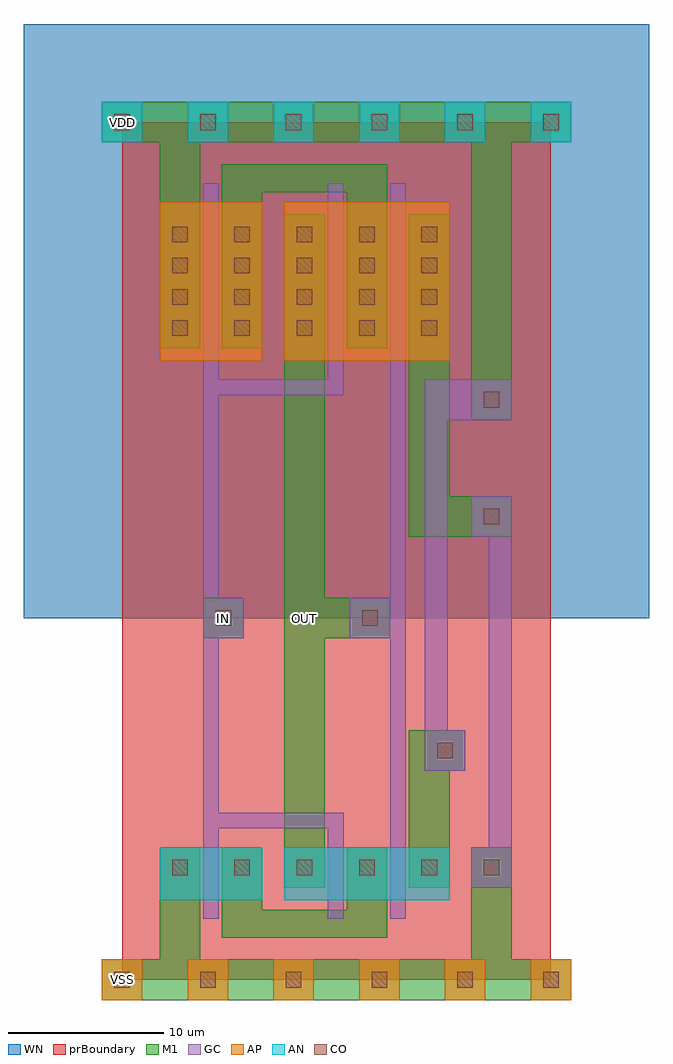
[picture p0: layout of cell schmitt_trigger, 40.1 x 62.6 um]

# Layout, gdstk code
import gdstk
lib = gdstk.Library(unit=1e-6, precision=1e-07)
def R(c, l, rs):  # rectangles x0, y0, x1, y1
    for r in rs: c.add(gdstk.rectangle(r[:2], r[2:], *l))
def A(c, l, x, y, w, h, nx, ny, dx, dy):  # array of equal rectangles
    R(c, l, [(x+i*dx, y+j*dy, x+i*dx+w, y+j*dy+h) for i in range(nx) for j in range(ny)])
def P(c, l, *ps):  # polygons
    for p in ps: c.add(gdstk.Polygon(p, *l))
AP = (3, 1)
AN = (3, 2)
GC = (8, 1)
CO = (11, 0)
M1 = (13, 0)
WN = (140, 0)
prBoundary = (235, 0)

fet_n_1 = lib.new_cell('fet_n$1')
R(fet_n_1, AN, [(-3.3,-1.7,3.3,1.7)])
R(fet_n_1, CO, [(-2.5,-0.1,-1.5,0.9), (1.5,-0.1,2.5,0.9)])
R(fet_n_1, M1, [(-3.3,-0.9,-0.7,1.7), (0.7,-0.9,3.3,1.7)])
fet_n_1.add(gdstk.FlexPath([(0,-2.9),(0,2.9)], 1, ends="flush", simple_path=True, layer=8, datatype=1))  # GC

fet_p_1 = lib.new_cell('fet_p$1')
R(fet_p_1, AP, [(-3.3,-5.1,3.3,5.1)])
A(fet_p_1, CO, -2.5, -3.5, 1, 1, 1, 4, 0, 2)
A(fet_p_1, CO, 1.5, -3.5, 1, 1, 1, 4, 0, 2)
R(fet_p_1, M1, [(-3.3,-4.3,-0.7,4.3), (0.7,-4.3,3.3,4.3)])
fet_p_1.add(gdstk.FlexPath([(0,-6.3),(0,6.3)], 1, ends="flush", simple_path=True, layer=8, datatype=1))  # GC

cont_p = lib.new_cell('cont_p')
R(cont_p, AP, [(-1.3,-1.3,1.3,1.3)])
R(cont_p, CO, [(-0.5,-0.5,0.5,0.5)])
R(cont_p, M1, [(-1.3,-1.3,1.3,1.3)])

cont_n = lib.new_cell('cont_n')
R(cont_n, AN, [(-1.3,-1.3,1.3,1.3)])
R(cont_n, CO, [(-0.5,-0.5,0.5,0.5)])
R(cont_n, M1, [(-1.3,-1.3,1.3,1.3)])

cont_g = lib.new_cell('cont_g')
R(cont_g, GC, [(-1.3,-1.3,1.3,1.3)])
R(cont_g, CO, [(-0.5,-0.5,0.5,0.5)])
R(cont_g, M1, [(-1.3,-1.3,1.3,1.3)])

schmitt_trigger = lib.new_cell('schmitt_trigger')
R(schmitt_trigger, GC, [(23.5,8.5,25,28.4), (5.2,9.7,6.2,38.5), (6.2,9.7,14.2,10.7), (17.2,9.7,18.2,38.5), (6.2,37.5,14.2,38.5)])
P(schmitt_trigger, GC, [(19.4,16),(19.4,38.5),(25,38.5),(25,35.9),(20.9,35.9),(20.9,16)])
R(schmitt_trigger, M1, [(-1.3,-1.3,28.8,1.3), (2.4,1.3,5,5.9), (22.4,1.3,25,5.9), (18.4,8.5,21,16), (22.4,38.5,25,53.7), (2.4,49.1,5,53.7), (-1.3,53.7,28.8,56.3)])
P(schmitt_trigger, M1, [(6.4,49.1),(6.4,52.3),(17,52.3),(17,49.1),(14.4,49.1),(14.4,50.5),(9,50.5),(9,49.1)],
  [(6.4,2.7),(6.4,5.9),(9,5.9),(9,4.5),(14.4,4.5),(14.4,5.9),(17,5.9),(17,2.7)],
  [(18.4,28.4),(18.4,40.5),(21,40.5),(21,31),(22.4,31),(22.4,28.4)],
  [(10.4,8.5),(10.4,40.5),(13,40.5),(13,24.5),(14.6,24.5),(14.6,21.9),(13,21.9),(13,8.5)])
R(schmitt_trigger, WN, [(-6.3,23.2,33.8,61.3)])
R(schmitt_trigger, prBoundary, [(0,0,27.5,55)])
schmitt_trigger.add(gdstk.Reference(fet_n_1, (5.7,6.8)))
schmitt_trigger.add(gdstk.Reference(fet_n_1, (13.7,6.8)))
schmitt_trigger.add(gdstk.Reference(fet_n_1, (17.7,6.8)))
schmitt_trigger.add(gdstk.Reference(fet_p_1, (5.7,44.8)))
schmitt_trigger.add(gdstk.Reference(fet_p_1, (13.7,44.8)))
schmitt_trigger.add(gdstk.Reference(fet_p_1, (17.7,44.8)))
r = gdstk.Reference(cont_p, (0,0)); r.repetition = gdstk.Repetition(6, 1, v1=(5.5,0), v2=(0,0)); schmitt_trigger.add(r)
r = gdstk.Reference(cont_n, (0,55)); r.repetition = gdstk.Repetition(6, 1, v1=(5.5,0), v2=(0,0)); schmitt_trigger.add(r)
schmitt_trigger.add(gdstk.Reference(cont_g, (20.7,14.7)))
schmitt_trigger.add(gdstk.Reference(cont_g, (23.7,37.2)))
schmitt_trigger.add(gdstk.Reference(cont_g, (23.7,29.7)))
schmitt_trigger.add(gdstk.Reference(cont_g, (23.7,7.2)))
schmitt_trigger.add(gdstk.Reference(cont_g, (15.9,23.2)))
schmitt_trigger.add(gdstk.Reference(cont_g, (6.5,23.2)))
schmitt_trigger.add(gdstk.Label('VSS', (0,0), layer=48, texttype=0))
schmitt_trigger.add(gdstk.Label('VDD', (0,55), layer=48, texttype=0))
schmitt_trigger.add(gdstk.Label('IN', (6.5,23.2), layer=48, texttype=0))
schmitt_trigger.add(gdstk.Label('OUT', (11.7,23.2), layer=48, texttype=0))

lib.write_gds('schmitt_trigger.gds')
